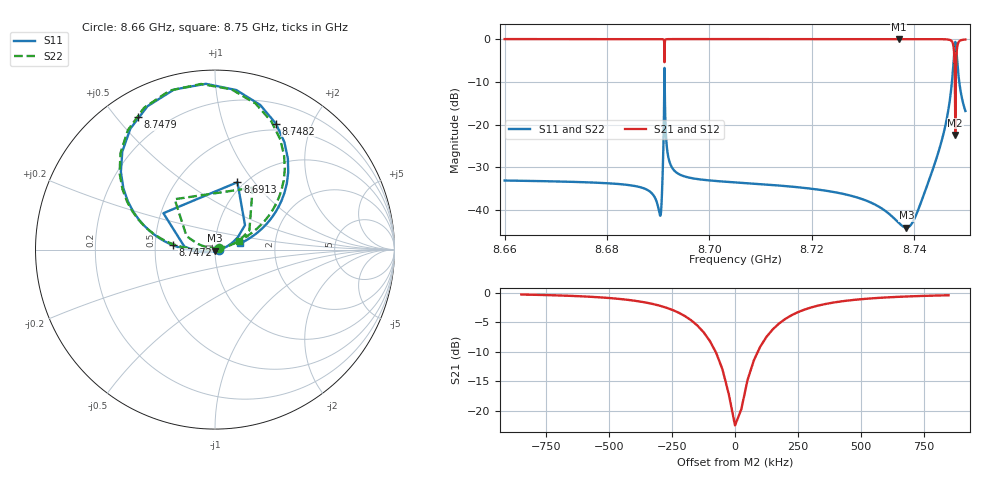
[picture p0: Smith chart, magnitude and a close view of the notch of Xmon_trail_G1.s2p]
! Sonnet Data File
! From: emgraph Version : 16.52
! From Emgraph Data: 171117_Xmon_fullysym_trail
! Data File Written: 11/22/2017 16:06:06
!< HDATE 11/22/2017 14:47:12
!< MDATE 11/22/2017 14:49:19
!< PARAMS
!< Lj = 11.0
!< Width = 10.0
!< Gap = 1.0
!< END PARAMS
# GHZ S MA R 50.90000
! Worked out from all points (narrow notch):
!   3601 points, 8.66 GHz to 8.75 GHz, reference 50.9 ohm
!   highest |S21| = 0.00 dB at 8.737 GHz (marker M1); lowest = -22.4 dB at 8.748 GHz (marker M2)
!   notch at M2: 22.4 dB deep, 143 kHz wide at half that depth
!   lowest |S11| = -44.1 dB at 8.7385 GHz (marker M3), VSWR 1.01, Z = 51 - j0.628 ohm
!   |S11| at or under -10 dB: start of sweep to 8.691193 GHz; 8.6913 GHz to 8.7474 GHz (56.11 MHz wide, 0.643 % of centre); 8.748795 GHz to end of sweep
!   |S22| runs from -44.0 to -0.6 dB; largest |S21 - S12| = 7.8e-10
!   S11 on the Smith chart (normalised r, x): 8.66 GHz: 1.04, -0.01; 8.6913 GHz: 0.93, +0.83; 8.7472 GHz: 0.62, +0.03; 8.7479 GHz: 0.10, +0.57; 8.7482 GHz: 0.42, +1.51; 8.75 GHz: 1.32, +0.09
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8.66  0.02213 -7.0  0.9998 -79.7  0.9998 -79.7  0.02213 27.6
!< P1 F=8.66 Eeff=(6.44844023 -2.9799e-5) Z0=(50.9085949 1.17006e-4) R=0.0 C=0.0
!< P2 F=8.66 Eeff=(6.44844012 -2.9799e-5) Z0=(50.9086403 1.17006e-4) R=0.0 C=0.0
8.675  0.02119 -8.2  0.9998 -79.9  0.9998 -79.9  0.02119 28.4
8.68695  0.01814 -12.8  0.9998 -80.2  0.9998 -80.2  0.01816 32.5
8.69  0.01076 -38.6  0.9997 -80.8  0.9997 -80.8  0.01109 58.2
8.690525  0.009164 -97.8  0.9993 -81.3  0.9993 -81.3  0.01028 112.4
8.69125  0.3957 71.6  0.7034 -62.8  0.7034 -62.8  0.4035 58.7
8.69155  0.06897 14.9  0.9948 -77.2  0.9948 -77.2  0.0697 15.4
8.69225  0.03597 4.0  0.9991 -79.2  0.9991 -79.2  0.03611 18.6
8.69365  0.0272 -1.7  0.9996 -79.7  0.9996 -79.7  0.02724 22.5
8.705  0.02103 -7.8  0.9998 -80.2  0.9998 -80.2  0.02104 27.5
8.72  0.01771 -11.8  0.9998 -80.5  0.9998 -80.5  0.01772 30.8
8.735  0.009114 -35.1  0.9999 -81.2  0.9999 -81.2  0.009153 52.9
8.737  0.007058 -54.1  0.9999 -81.4  0.9999 -81.4  0.007126 71.5
8.738475  0.006213 -82.5  0.9999 -81.6  0.9999 -81.6  0.006314 99.2
8.74415  0.03688 -165.2  0.999 -83.8  0.999 -83.8  0.03698 176.8
8.74715  0.2368 173.9  0.9661 -95.4  0.9661 -95.4  0.237 172.6
8.747575  0.4372 159.9  0.8808 -107.6  0.8808 -107.6  0.4377 160.0
8.747925  0.8547 120.3  0.3906 -139.1  0.3906 -139.1  0.8556 121.5
8.748025  0.9272 98.8  0.07561 -97.9  0.07561 -97.9  0.9281 100.3
8.7482  0.7795 64.2  0.5482 -30.9  0.5482 -30.9  0.7802 66.3
8.7486  0.4 32.0  0.9043 -58.2  0.9043 -58.2  0.4004 35.2
8.75  0.144 13.7  0.9884 -73.5  0.9884 -73.5  0.1441 20.2
